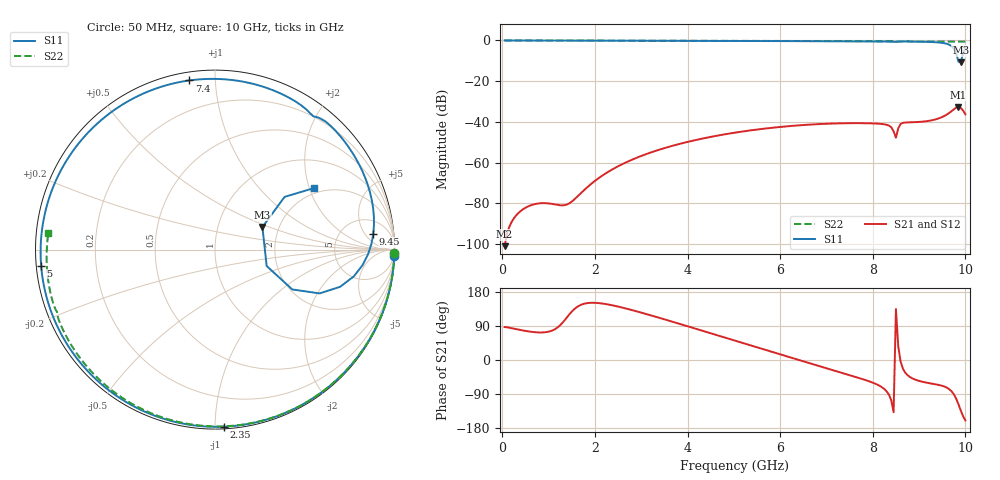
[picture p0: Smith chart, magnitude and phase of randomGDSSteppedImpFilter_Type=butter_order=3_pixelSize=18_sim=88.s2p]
! freq	dB(S11)	phase(S11)	dB(S12)	phase(S12)
!  dB(S21)	phase(S21)	dB(S22)	phase(S22)
!S-par simulation data
#  GHz  S  DB  R 50
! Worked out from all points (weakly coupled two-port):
!   200 points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, 50 MHz to 10 GHz, reference 50 ohm
!   highest |S21| = -32.68 dB at 9.85 GHz (marker M1); lowest = -101.1 dB at 50 MHz (marker M2)
!   lowest |S11| = -10.7 dB at 9.9 GHz (marker M3), VSWR 1.83, Z = 82.1 + j22.5 ohm
!   |S11| at or under -10 dB: 9.845 GHz to 9.908 GHz (62.59 MHz wide, 0.634 % of centre)
!   |S22| runs from -0.6 to 0.0 dB; largest |S21 - S12| = 0
!   S11 on the Smith chart (normalised r, x): 50 MHz: 2, -59; 2.35 GHz: 0.01, -1.05; 5 GHz: 0.01, -0.05; 7.4 GHz: 0.04, +0.86; 9.45 GHz: 10, +8; 10 GHz: 1.81, +2.16
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0.05  -0.01 -2.0  -101.06 87.0  -101.06 87.0  -0.00 -1.1
0.7  -0.03 -27.0  -80.42 73.4  -80.42 73.4  -0.02 -14.6
1.45  -0.07 -55.1  -79.97 120.7  -79.97 120.7  -0.04 -30.0
1.75  -0.08 -66.0  -73.87 147.8  -73.87 147.8  -0.05 -36.1
2.35  -0.11 -87.2  -63.68 145.0  -63.68 145.0  -0.06 -48.0
3.4  -0.15 -122.6  -53.59 111.0  -53.59 111.0  -0.09 -68.3
4.25  -0.19 -150.2  -48.55 79.9  -48.55 79.9  -0.12 -84.0
5  -0.24 -174.8  -45.38 52.0  -45.38 52.0  -0.15 -97.4
5.05  -0.24 -176.4  -45.20 50.2  -45.20 50.2  -0.15 -98.3
5.85  -0.30 156.5  -42.84 20.5  -42.84 20.5  -0.19 -112.2
6.7  -0.36 125.8  -41.25 -10.8  -41.25 -10.8  -0.25 -126.8
7.4  -0.42 98.7  -40.66 -36.2  -40.66 -36.2  -0.30 -138.7
8.35  -0.57 59.0  -41.83 -91.8  -41.83 -91.8  -0.40 -155.3
8.5  -0.69 53.5  -47.80 134.4  -47.80 134.4  -0.47 -158.0
8.55  -0.58 51.8  -43.18 36.1  -43.18 36.1  -0.48 -158.6
8.65  -0.50 46.7  -40.49 -22.7  -40.49 -22.7  -0.45 -160.3
9.45  -1.05 5.6  -38.08 -66.5  -38.08 -66.5  -0.53 -175.1
9.7  -2.77 -16.6  -34.74 -82.4  -34.74 -82.4  -0.56 -179.9
9.8  -6.30 -27.3  -33.02 -101.8  -33.02 -101.8  -0.58 178.2
9.85  -10.40 -17.6  -32.68 -116.7  -32.68 -116.7  -0.58 177.2
9.9  -10.68 25.4  -33.15 -133.4  -33.15 -133.4  -0.59 176.3
10  -3.72 31.8  -36.26 -159.5  -36.26 -159.5  -0.60 174.3
